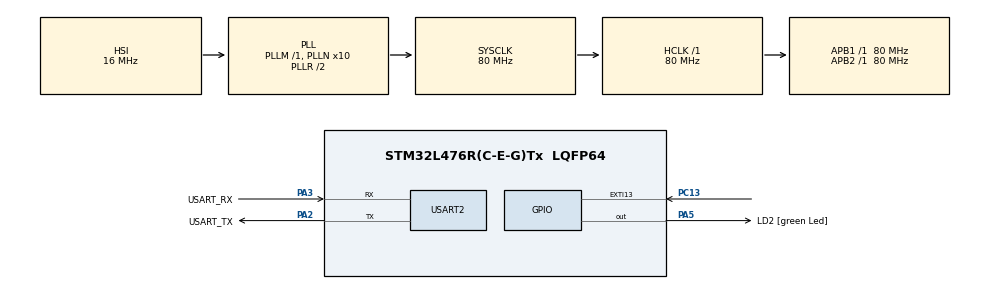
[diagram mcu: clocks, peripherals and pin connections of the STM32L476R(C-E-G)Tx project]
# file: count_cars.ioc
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Mcu.Family=STM32L4
Mcu.Name=STM32L476R(C-E-G)Tx
Mcu.Package=LQFP64
NVIC.EXTI15_10_IRQn=true\:0\:0\:false\:false\:true\:true\:true\:true
NVIC.PriorityGroup=NVIC_PRIORITYGROUP_4
PA13\ (JTMS-SWDIO).GPIO_Label=TMS
PA13\ (JTMS-SWDIO).Mode=Serial_Wire
PA13\ (JTMS-SWDIO).Signal=SYS_JTMS-SWDIO
PA14\ (JTCK-SWCLK).GPIO_Label=TCK
PA14\ (JTCK-SWCLK).Mode=Serial_Wire
PA14\ (JTCK-SWCLK).Signal=SYS_JTCK-SWCLK
PA2.GPIO_Label=USART_TX
PA2.GPIO_Mode=GPIO_MODE_AF_PP
PA2.GPIO_PuPd=GPIO_NOPULL
PA2.GPIO_Speed=GPIO_SPEED_FREQ_VERY_HIGH
PA2.Mode=Asynchronous
PA2.Signal=USART2_TX
PA3.GPIO_Label=USART_RX
PA3.GPIO_Mode=GPIO_MODE_AF_PP
PA3.GPIO_PuPd=GPIO_NOPULL
PA3.GPIO_Speed=GPIO_SPEED_FREQ_VERY_HIGH
PA3.Mode=Asynchronous
PA3.Signal=USART2_RX
PA5.GPIO_Label=LD2 [green Led]
PA5.GPIO_ModeDefaultOutputPP=GPIO_MODE_OUTPUT_PP
PA5.GPIO_PuPd=GPIO_NOPULL
PA5.GPIO_Speed=GPIO_SPEED_FREQ_LOW
PA5.Signal=GPIO_Output
PB3\ (JTDO-TRACESWO).GPIO_Label=SWO
PB3\ (JTDO-TRACESWO).Signal=SYS_JTDO-SWO
PC13.Signal=GPXTI13
PC14-OSC32_IN\ (PC14).Mode=LSE-External-Oscillator
PC14-OSC32_IN\ (PC14).Signal=RCC_OSC32_IN
PC15-OSC32_OUT\ (PC15).Mode=LSE-External-Oscillator
PC15-OSC32_OUT\ (PC15).Signal=RCC_OSC32_OUT
PH0-OSC_IN\ (PH0).Signal=RCC_OSC_IN
PH1-OSC_OUT\ (PH1).Signal=RCC_OSC_OUT
ProjectManager.HeapSize=0x200
ProjectManager.StackSize=0x400
ProjectManager.TargetToolchain=STM32CubeIDE
RCC.ADCFreq_Value=64000000
RCC.AHBFreq_Value=80000000
RCC.APB1Freq_Value=80000000
RCC.APB1TimFreq_Value=80000000
RCC.APB2Freq_Value=80000000
RCC.APB2TimFreq_Value=80000000
RCC.CortexFreq_Value=80000000
RCC.HCLKFreq_Value=80000000
RCC.HSE_VALUE=8000000
RCC.HSI_VALUE=16000000
RCC.MSI_VALUE=4000000
RCC.PLLN=10
RCC.PLLSourceVirtual=RCC_PLLSOURCE_HSI
RCC.PREFETCH_ENABLE=1
RCC.SYSCLKFreq_VALUE=80000000
RCC.SYSCLKSource=RCC_SYSCLKSOURCE_PLLCLK
RCC.USBFreq_Value=64000000
RCC.VCOOutputFreq_Value=160000000
USART2.VirtualMode-Asynchronous=VM_ASYNC
board=NUCLEO-L476RG

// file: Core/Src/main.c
/* USER CODE BEGIN Header */
/**
  ******************************************************************************
  * @file           : main.c
  * @brief          : Main program body
  ******************************************************************************
  * @attention
  *
  * Copyright (c) 2023 STMicroelectronics.
  * All rights reserved.
  *
  * This software is licensed under terms that can be found in the LICENSE file
  * in the root directory of this software component.
  * If no LICENSE file comes with this software, it is provided AS-IS.
  *
  ******************************************************************************
  */
/* USER CODE END Header */
#include "main.h"
#include "car/car.h"
#include <stdio.h>

UART_HandleTypeDef huart2;

void SystemClock_Config(void);
static void MX_GPIO_Init(void);
static void MX_USART2_UART_Init(void);

int main(void)
{

  /* MCU Configuration--------------------------------------------------------*/

  /* Reset of all peripherals, Initializes the Flash interface and the Systick. */
  HAL_Init();

  /* Configure the system clock */
  SystemClock_Config();

  /* Initialize all configured peripherals */
  MX_GPIO_Init();
  MX_USART2_UART_Init();
  /* USER CODE BEGIN 2 */
  car_Init();
  extern volatile uint32_t uwTick;

  uint32_t time_delay, next_delay = 0;
  time_delay = uwTick;

  HAL_GPIO_WritePin(GPIOA, GPIO_PIN_5,1);
  /* USER CODE END 2 */

  /* Infinite loop */
  while (1)
  {

    /* USER CODE BEGIN 3 */

//	  printf("%ld  \n",get_CarsCout());
//	  HAL_Delay(4000);

	if (((uwTick - time_delay) >= 3000) && (next_delay == 0)) {
		HAL_GPIO_WritePin(GPIOA, GPIO_PIN_5,0);
	  time_delay = uwTick;
	  next_delay = 1;
	}

	if (((uwTick - time_delay) >= 5000) && (next_delay == 1)) {
	  HAL_GPIO_WritePin(GPIOA, GPIO_PIN_5,1);
	  time_delay = uwTick;
	  next_delay = 2;
	}

	if (((uwTick - time_delay) >= 3000) && (next_delay == 2)) {
		HAL_GPIO_WritePin(GPIOA, GPIO_PIN_5,0);
	  time_delay = uwTick;
	  next_delay = 3;
	}

	if (((uwTick - time_delay) >= 8000) && (next_delay == 3)) {
	  HAL_GPIO_WritePin(GPIOA, GPIO_PIN_5,1);
	  time_delay = uwTick;
	  next_delay = 0;
	}

  }
  /* USER CODE END 3 */
}

void SystemClock_Config(void)
{
  RCC_OscInitTypeDef RCC_OscInitStruct = {0};
  RCC_ClkInitTypeDef RCC_ClkInitStruct = {0};

  /** Configure the main internal regulator output voltage
  */
  if (HAL_PWREx_ControlVoltageScaling(PWR_REGULATOR_VOLTAGE_SCALE1) != HAL_OK)
  {
    Error_Handler();
  }

  /** Initializes the RCC Oscillators according to the specified parameters
  * in the RCC_OscInitTypeDef structure.
  */
  RCC_OscInitStruct.OscillatorType = RCC_OSCILLATORTYPE_HSI;
  RCC_OscInitStruct.HSIState = RCC_HSI_ON;
  RCC_OscInitStruct.HSICalibrationValue = RCC_HSICALIBRATION_DEFAULT;
  RCC_OscInitStruct.PLL.PLLState = RCC_PLL_ON;
  RCC_OscInitStruct.PLL.PLLSource = RCC_PLLSOURCE_HSI;
  RCC_OscInitStruct.PLL.PLLM = 1;
  RCC_OscInitStruct.PLL.PLLN = 10;
  RCC_OscInitStruct.PLL.PLLP = RCC_PLLP_DIV7;
  RCC_OscInitStruct.PLL.PLLQ = RCC_PLLQ_DIV2;
  RCC_OscInitStruct.PLL.PLLR = RCC_PLLR_DIV2;
  if (HAL_RCC_OscConfig(&RCC_OscInitStruct) != HAL_OK)
  {
    Error_Handler();
  }

  /** Initializes the CPU, AHB and APB buses clocks
  */
  RCC_ClkInitStruct.ClockType = RCC_CLOCKTYPE_HCLK|RCC_CLOCKTYPE_SYSCLK
                              |RCC_CLOCKTYPE_PCLK1|RCC_CLOCKTYPE_PCLK2;
  RCC_ClkInitStruct.SYSCLKSource = RCC_SYSCLKSOURCE_PLLCLK;
  RCC_ClkInitStruct.AHBCLKDivider = RCC_SYSCLK_DIV1;
  RCC_ClkInitStruct.APB1CLKDivider = RCC_HCLK_DIV1;
  RCC_ClkInitStruct.APB2CLKDivider = RCC_HCLK_DIV1;

  if (HAL_RCC_ClockConfig(&RCC_ClkInitStruct, FLASH_LATENCY_4) != HAL_OK)
  {
    Error_Handler();
  }
}

static void MX_USART2_UART_Init(void)
{

  huart2.Instance = USART2;
  huart2.Init.BaudRate = 115200;
  huart2.Init.WordLength = UART_WORDLENGTH_8B;
  huart2.Init.StopBits = UART_STOPBITS_1;
  huart2.Init.Parity = UART_PARITY_NONE;
  huart2.Init.Mode = UART_MODE_TX_RX;
  huart2.Init.HwFlowCtl = UART_HWCONTROL_NONE;
  huart2.Init.OverSampling = UART_OVERSAMPLING_16;
  huart2.Init.OneBitSampling = UART_ONE_BIT_SAMPLE_DISABLE;
  huart2.AdvancedInit.AdvFeatureInit = UART_ADVFEATURE_NO_INIT;
  if (HAL_UART_Init(&huart2) != HAL_OK)
  {
    Error_Handler();
  }

}

static void MX_GPIO_Init(void)
{
  GPIO_InitTypeDef GPIO_InitStruct = {0};

  /* GPIO Ports Clock Enable */
  __HAL_RCC_GPIOH_CLK_ENABLE();
  __HAL_RCC_GPIOA_CLK_ENABLE();
  __HAL_RCC_GPIOB_CLK_ENABLE();

  /*Configure GPIO pin Output Level */
  HAL_GPIO_WritePin(LD2_GPIO_Port, LD2_Pin, GPIO_PIN_RESET);

  /*Configure GPIO pin : PC13 */

  /*Configure GPIO pin : LD2_Pin */
  GPIO_InitStruct.Pin = LD2_Pin;
  GPIO_InitStruct.Mode = GPIO_MODE_OUTPUT_PP;
  GPIO_InitStruct.Pull = GPIO_NOPULL;
  GPIO_InitStruct.Speed = GPIO_SPEED_FREQ_LOW;
  HAL_GPIO_Init(LD2_GPIO_Port, &GPIO_InitStruct);

  /* EXTI interrupt init*/

}

/* USER CODE BEGIN 4 */
int _write(int file, char *ptr, int len)
{
  (void)file;
  int DataIdx;

  for (DataIdx = 0; DataIdx < len; DataIdx++)
  {
    ITM_SendChar(*ptr++);
  }
  return len;
}
/* USER CODE END 4 */

void Error_Handler(void)
{
  __disable_irq();
  while (1)
  {
  }
}
